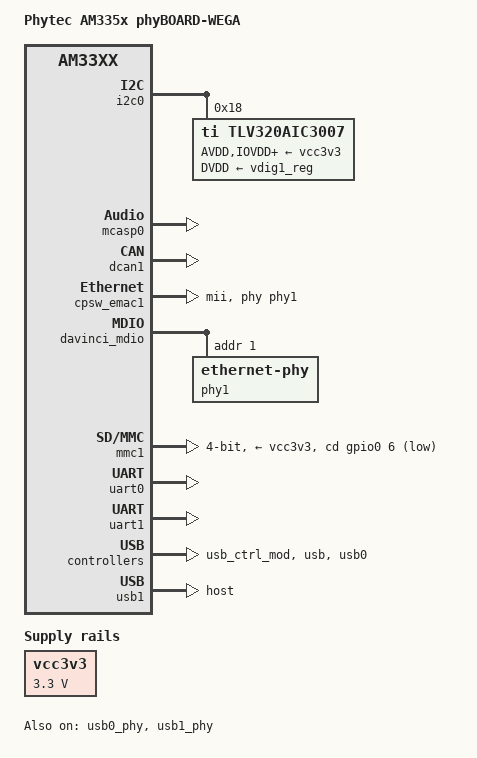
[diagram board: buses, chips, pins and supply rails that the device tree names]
// SPDX-License-Identifier: GPL-2.0-only
/*
 * Copyright (C) 2015 Phytec Messtechnik GmbH
 * Author: Teresa Remmet <t.remmet@phytec.de>
 */

/ {
	model = "Phytec AM335x phyBOARD-WEGA";
	compatible = "phytec,am335x-wega", "phytec,am335x-phycore-som", "ti,am33xx";

	sound: sound_iface {
		compatible = "ti,da830-evm-audio";
	};

	vcc3v3: fixedregulator1 {
		compatible = "regulator-fixed";
		regulator-name = "vcc3v3";
		regulator-min-microvolt = <3300000>;
		regulator-max-microvolt = <3300000>;
		regulator-boot-on;
	};
};

/* Audio */
&am33xx_pinmux {
	mcasp0_pins: pinmux_mcasp0 {
		pinctrl-single,pins = <
			AM33XX_PADCONF(AM335X_PIN_MCASP0_AHCLKX, PIN_OUTPUT_PULLDOWN, MUX_MODE0)
			AM33XX_PADCONF(AM335X_PIN_MCASP0_ACLKX, PIN_INPUT_PULLDOWN, MUX_MODE0)
			AM33XX_PADCONF(AM335X_PIN_MCASP0_FSX, PIN_INPUT_PULLDOWN, MUX_MODE0)
			AM33XX_PADCONF(AM335X_PIN_MCASP0_AXR0, PIN_INPUT_PULLDOWN, MUX_MODE0)
			AM33XX_PADCONF(AM335X_PIN_MCASP0_AXR1, PIN_OUTPUT_PULLDOWN, MUX_MODE0)
		>;
	};
};

&i2c0 {
	tlv320aic3007: tlv320aic3007@18 {
		compatible = "ti,tlv320aic3007";
		reg = <0x18>;
		AVDD-supply = <&vcc3v3>;
		IOVDD-supply = <&vcc3v3>;
		DRVDD-supply = <&vcc3v3>;
		DVDD-supply = <&vdig1_reg>;
		status = "okay";
	};
};

&mcasp0 {
	pinctrl-names = "default";
	pinctrl-0 = <&mcasp0_pins>;
	op-mode = <0>; /* DAVINCI_MCASP_IIS_MODE */
	tdm-slots = <2>;
	serial-dir = <
		2 1 0 0 /* # 0: INACTIVE, 1: TX, 2: RX */
	>;
	tx-num-evt = <16>;
	rt-num-evt = <16>;
	status = "okay";
};

&sound {
	ti,model = "AM335x-Wega";
	ti,audio-codec = <&tlv320aic3007>;
	ti,mcasp-controller = <&mcasp0>;
	ti,audio-routing =
		"Line Out",		"LLOUT",
		"Line Out",		"RLOUT",
		"LINE1L",		"Line In",
		"LINE1R",		"Line In";
	clocks = <&mcasp0_fck>;
	clock-names = "mclk";
	status = "okay";
};

/* CAN Busses */
&am33xx_pinmux {
	dcan1_pins: pinmux_dcan1 {
		pinctrl-single,pins = <
			AM33XX_PADCONF(AM335X_PIN_UART0_CTSN, PIN_OUTPUT_PULLUP, MUX_MODE2) /* uart0_ctsn.d_can1_tx */
			AM33XX_PADCONF(AM335X_PIN_UART0_RTSN, PIN_INPUT_PULLUP, MUX_MODE2) /* uart0_rtsn.d_can1_rx */
		>;
	};
};

&dcan1 {
	pinctrl-names = "default";
	pinctrl-0 = <&dcan1_pins>;
	status = "okay";
};

/* Ethernet */
&am33xx_pinmux {
	ethernet1_pins: pinmux_ethernet1 {
		pinctrl-single,pins = <
			AM33XX_PADCONF(AM335X_PIN_GPMC_A0, PIN_OUTPUT, MUX_MODE1)		/* gpmc_a0.mii2_txen */
			AM33XX_PADCONF(AM335X_PIN_GPMC_A1, PIN_INPUT_PULLDOWN, MUX_MODE1)	/* gpmc_a1.mii2_rxdv */
			AM33XX_PADCONF(AM335X_PIN_GPMC_A2, PIN_OUTPUT, MUX_MODE1)		/* gpmc_a2.mii2_txd3 */
			AM33XX_PADCONF(AM335X_PIN_GPMC_A3, PIN_OUTPUT, MUX_MODE1)		/* gpmc_a3.mii2_txd2 */
			AM33XX_PADCONF(AM335X_PIN_GPMC_A4, PIN_OUTPUT, MUX_MODE1)		/* gpmc_a4.mii2_txd1 */
			AM33XX_PADCONF(AM335X_PIN_GPMC_A5, PIN_OUTPUT, MUX_MODE1)		/* gpmc_a5.mii2_txd0 */
			AM33XX_PADCONF(AM335X_PIN_GPMC_A6, PIN_INPUT_PULLDOWN, MUX_MODE1)	/* gpmc_a6.mii2_txclk */
			AM33XX_PADCONF(AM335X_PIN_GPMC_A7, PIN_INPUT_PULLDOWN, MUX_MODE1)	/* gpmc_a7.mii2_rxclk */
			AM33XX_PADCONF(AM335X_PIN_GPMC_A8, PIN_INPUT_PULLDOWN, MUX_MODE1)	/* gpmc_a8.mii2_rxd3 */
			AM33XX_PADCONF(AM335X_PIN_GPMC_A9, PIN_INPUT_PULLDOWN, MUX_MODE1)	/* gpmc_a9.mii2_rxd2 */
			AM33XX_PADCONF(AM335X_PIN_GPMC_A10, PIN_INPUT_PULLDOWN, MUX_MODE1)	/* gpmc_a10.mii2_rxd1 */
			AM33XX_PADCONF(AM335X_PIN_GPMC_A11, PIN_INPUT_PULLDOWN, MUX_MODE1)	/* gpmc_a11.mii2_rxd0 */
			AM33XX_PADCONF(AM335X_PIN_GPMC_WPN, PIN_INPUT_PULLDOWN, MUX_MODE1)	/* gpmc_wpn.mii2_rxerr */
			AM33XX_PADCONF(AM335X_PIN_GPMC_BEN1, PIN_INPUT_PULLDOWN, MUX_MODE1)	/* gpmc_ben1.mii2_col */
		>;
	};
};

&cpsw_emac1 {
	phy-handle = <&phy1>;
	phy-mode = "mii";
	dual_emac_res_vlan = <2>;
};

&davinci_mdio {
	phy1: ethernet-phy@1 {
		reg = <1>;
	};
};

&mac {
	slaves = <2>;
	pinctrl-names = "default";
	pinctrl-0 = <&ethernet0_pins &ethernet1_pins>;
	dual_emac = <1>;
};

/* MMC */
&am33xx_pinmux {
	mmc1_pins: pinmux_mmc1 {
		pinctrl-single,pins = <
			AM33XX_PADCONF(AM335X_PIN_MMC0_DAT3, PIN_INPUT_PULLUP, MUX_MODE0)
			AM33XX_PADCONF(AM335X_PIN_MMC0_DAT2, PIN_INPUT_PULLUP, MUX_MODE0)
			AM33XX_PADCONF(AM335X_PIN_MMC0_DAT1, PIN_INPUT_PULLUP, MUX_MODE0)
			AM33XX_PADCONF(AM335X_PIN_MMC0_DAT0, PIN_INPUT_PULLUP, MUX_MODE0)
			AM33XX_PADCONF(AM335X_PIN_MMC0_CLK, PIN_INPUT_PULLUP, MUX_MODE0)
			AM33XX_PADCONF(AM335X_PIN_MMC0_CMD, PIN_INPUT_PULLUP, MUX_MODE0)
			AM33XX_PADCONF(AM335X_PIN_SPI0_CS1, PIN_INPUT_PULLUP, MUX_MODE7)	/* spi0_cs1.mmc0_sdcd */
		>;
	};
};

&mmc1 {
	vmmc-supply = <&vcc3v3>;
	bus-width = <4>;
	pinctrl-names = "default";
	pinctrl-0 = <&mmc1_pins>;
	cd-gpios = <&gpio0 6 GPIO_ACTIVE_LOW>;
	status = "okay";
};

/* Power */
&vdig1_reg {
	regulator-boot-on;
	regulator-always-on;
};

/* UARTs */
&am33xx_pinmux {
	uart0_pins: pinmux_uart0 {
		pinctrl-single,pins = <
			AM33XX_PADCONF(AM335X_PIN_UART0_RXD, PIN_INPUT_PULLUP, MUX_MODE0)
			AM33XX_PADCONF(AM335X_PIN_UART0_TXD, PIN_OUTPUT_PULLDOWN, MUX_MODE0)
		>;
	};

	uart1_pins: pinmux_uart1_pins {
		pinctrl-single,pins = <
			AM33XX_PADCONF(AM335X_PIN_UART1_RXD, PIN_INPUT_PULLUP, MUX_MODE0)
			AM33XX_PADCONF(AM335X_PIN_UART1_TXD, PIN_OUTPUT_PULLDOWN, MUX_MODE0)
			AM33XX_PADCONF(AM335X_PIN_UART1_CTSN, PIN_INPUT, MUX_MODE0)
			AM33XX_PADCONF(AM335X_PIN_UART1_RTSN, PIN_OUTPUT_PULLDOWN, MUX_MODE0)
		>;
	};
};

&uart0 {
	pinctrl-names = "default";
	pinctrl-0 = <&uart0_pins>;
	status = "okay";
};

&uart1 {
	pinctrl-names = "default";
	pinctrl-0 = <&uart1_pins>;
	status = "okay";
};

/* USB */
&cppi41dma {
	status = "okay";
};

&usb_ctrl_mod {
	status = "okay";
};

&usb {
	status = "okay";
};

&usb0 {
	status = "okay";
};

&usb0_phy {
	status = "okay";
};

&usb1 {
	dr_mode = "host";
	status = "okay";
};

&usb1_phy {
	status = "okay";
};
